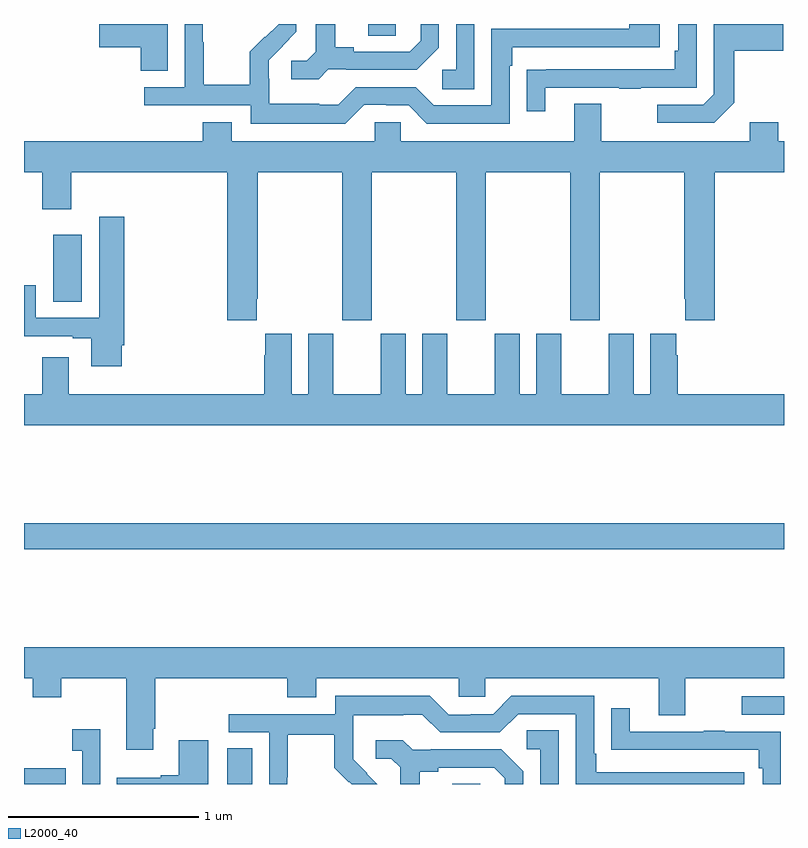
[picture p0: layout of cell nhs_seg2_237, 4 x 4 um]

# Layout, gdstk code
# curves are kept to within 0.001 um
import gdstk
lib = gdstk.Library(unit=1e-6, precision=1e-09)
def R(c, l, rs):  # rectangles x0, y0, x1, y1
    for r in rs: c.add(gdstk.rectangle(r[:2], r[2:], *l))
def P(c, l, *ps):  # polygons
    for p in ps: c.add(gdstk.Polygon(p, *l))
L2000_40 = (2000, 40)

nhs_seg2_237 = lib.new_cell('nhs_seg2_237')
R(nhs_seg2_237, L2000_40, [(123,593.8,123.221,593.883), (124.07,593.8,124.201,593.987), (125.255,593.8,125.4,593.801), (126.777,594.165,127,594.261), (123,595.036,127,595.172), (123.155,596.338,123.304,596.692), (124.811,597.739,124.956,597.8)])
P(nhs_seg2_237, L2000_40, [(124.602,597.561),(124.696,597.561),(124.696,597.558),(125.068,597.558),(125.184,597.674),(125.184,597.8),(125.087,597.8),(125.087,597.711),(125.03,597.654),(124.735,597.654),(124.735,597.677),(124.639,597.677),(124.639,597.8),(124.535,597.8),(124.535,597.653),(124.488,597.606),(124.407,597.606),(124.407,597.509),(124.55,597.509)],
  [(126.739,597.385),(126.739,597.658),(126.995,597.658),(126.995,597.8),(126.63,597.8),(126.63,597.429),(126.576,597.375),(126.333,597.375),(126.333,597.279),(126.633,597.279)],
  [(123.757,597.8),(123.396,597.8),(123.396,597.677),(123.614,597.677),(123.614,597.553),(123.757,597.553)],
  [(125.37,597.8),(125.274,597.8),(125.274,597.558),(125.202,597.558),(125.202,597.457),(125.37,597.457)],
  [(124.791,597.375),(124.907,597.375),(124.907,597.372),(125.025,597.372),(125.121,597.276),(125.556,597.276),(125.556,597.581),(125.569,597.581),(125.569,597.678),(126.346,597.678),(126.346,597.8),(126.185,597.8),(126.185,597.774),(125.46,597.774),(125.46,597.372),(125.157,597.372),(125.061,597.468),(124.746,597.468),(124.653,597.375),(124.553,597.375),(124.553,597.379),(124.29,597.379),(124.29,597.513),(124.288,597.513),(124.288,597.61),(124.434,597.758),(124.434,597.8),(124.34,597.8),(124.269,597.729),(124.266,597.732),(124.189,597.655),(124.189,597.481),(123.945,597.481),(123.945,597.704),(123.942,597.704),(123.942,597.8),(123.846,597.8),(123.846,597.468),(123.633,597.468),(123.633,597.372),(124.194,597.372),(124.194,597.275),(124.691,597.275)],
  [(125.743,597.465),(126.133,597.465),(126.133,597.46),(126.245,597.46),(126.245,597.465),(126.54,597.465),(126.54,597.8),(126.444,597.8),(126.444,597.658),(126.424,597.658),(126.424,597.561),(125.749,597.561),(125.749,597.56),(125.647,597.56),(125.647,597.342),(125.743,597.342)],
  [(124.225,596.353),(124.23,596.353),(124.23,597.02),(124.675,597.02),(124.675,596.241),(124.83,596.241),(124.83,597.02),(125.275,597.02),(125.275,596.241),(125.43,596.241),(125.43,597.02),(125.875,597.02),(125.875,596.241),(126.03,596.241),(126.03,597.02),(126.475,597.02),(126.475,596.353),(126.479,596.353),(126.479,596.241),(126.635,596.241),(126.635,597.02),(127,597.02),(127,597.184),(126.969,597.184),(126.969,597.283),(126.821,597.283),(126.821,597.184),(126.037,597.184),(126.037,597.379),(125.897,597.379),(125.897,597.184),(124.983,597.184),(124.983,597.282),(124.845,597.282),(124.845,597.184),(124.093,597.184),(124.093,597.283),(123.941,597.283),(123.941,597.184),(123,597.184),(123,597.02),(123.095,597.02),(123.095,596.826),(123.248,596.826),(123.248,597.02),(124.07,597.02),(124.07,596.241),(124.225,596.241)],
  [(123.514,596.11),(123.527,596.11),(123.527,596.785),(123.395,596.785),(123.395,596.253),(123.061,596.253),(123.061,596.425),(123,596.425),(123,596.157),(123.257,596.157),(123.257,596.145),(123.353,596.145),(123.353,595.998),(123.514,595.998)],
  [(127,595.852),(126.44,595.852),(126.44,596.057),(126.433,596.057),(126.433,596.17),(126.296,596.17),(126.296,595.852),(126.208,595.852),(126.208,596.17),(126.077,596.17),(126.077,595.852),(125.827,595.852),(125.827,596.17),(125.696,596.17),(125.696,595.852),(125.608,595.852),(125.608,596.17),(125.477,596.17),(125.477,595.852),(125.227,595.852),(125.227,596.17),(125.096,596.17),(125.096,595.852),(125.008,595.852),(125.008,596.17),(124.877,596.17),(124.877,595.852),(124.627,595.852),(124.627,596.17),(124.496,596.17),(124.496,595.852),(124.408,595.852),(124.408,596.17),(124.271,596.17),(124.271,596.057),(124.265,596.057),(124.265,595.852),(123.235,595.852),(123.235,596.047),(123.095,596.047),(123.095,595.852),(123,595.852),(123,595.688),(127,595.688)],
  [(123.679,594.091),(123.692,594.091),(123.692,594.356),(124.385,594.356),(124.385,594.257),(124.537,594.257),(124.537,594.356),(125.289,594.356),(125.289,594.258),(125.427,594.258),(125.427,594.356),(126.341,594.356),(126.341,594.162),(126.481,594.162),(126.481,594.356),(127,594.356),(127,594.52),(123,594.52),(123,594.356),(123.047,594.356),(123.047,594.257),(123.195,594.257),(123.195,594.356),(123.539,594.356),(123.539,593.979),(123.679,593.979)],
  [(124.386,593.836),(124.389,593.836),(124.389,594.06),(124.633,594.06),(124.633,593.885),(124.71,593.808),(124.713,593.811),(124.724,593.8),(124.86,593.8),(124.732,593.93),(124.732,594.027),(124.734,594.027),(124.734,594.161),(124.997,594.161),(124.997,594.165),(125.097,594.165),(125.19,594.072),(125.505,594.072),(125.601,594.168),(125.904,594.168),(125.904,593.8),(126.79,593.8),(126.79,593.862),(126.013,593.862),(126.013,593.959),(126,593.959),(126,594.264),(125.565,594.264),(125.469,594.168),(125.351,594.168),(125.351,594.165),(125.235,594.165),(125.135,594.265),(124.638,594.265),(124.638,594.168),(124.077,594.168),(124.077,594.072),(124.29,594.072),(124.29,593.8),(124.386,593.8)],
  [(126.984,594.075),(126.689,594.075),(126.689,594.08),(126.577,594.08),(126.577,594.075),(126.187,594.075),(126.187,594.199),(126.091,594.199),(126.091,593.98),(126.193,593.98),(126.193,593.979),(126.868,593.979),(126.868,593.882),(126.888,593.882),(126.888,593.8),(126.984,593.8)],
  [(123.402,594.088),(123.255,594.088),(123.255,593.975),(123.306,593.975),(123.306,593.8),(123.402,593.8)],
  [(125.814,594.083),(125.646,594.083),(125.646,593.982),(125.718,593.982),(125.718,593.8),(125.814,593.8)],
  [(125.083,593.864),(125.179,593.864),(125.179,593.886),(125.474,593.886),(125.531,593.829),(125.531,593.8),(125.628,593.8),(125.628,593.866),(125.512,593.982),(125.14,593.982),(125.14,593.979),(125.046,593.979),(124.994,594.031),(124.851,594.031),(124.851,593.934),(124.932,593.934),(124.979,593.887),(124.979,593.8),(125.083,593.8)],
  [(123.97,594.031),(123.815,594.031),(123.815,593.846),(123.719,593.846),(123.719,593.833),(123.489,593.833),(123.489,593.8),(123.97,593.8)])

lib.write_gds('nhs_seg2_237.gds')
